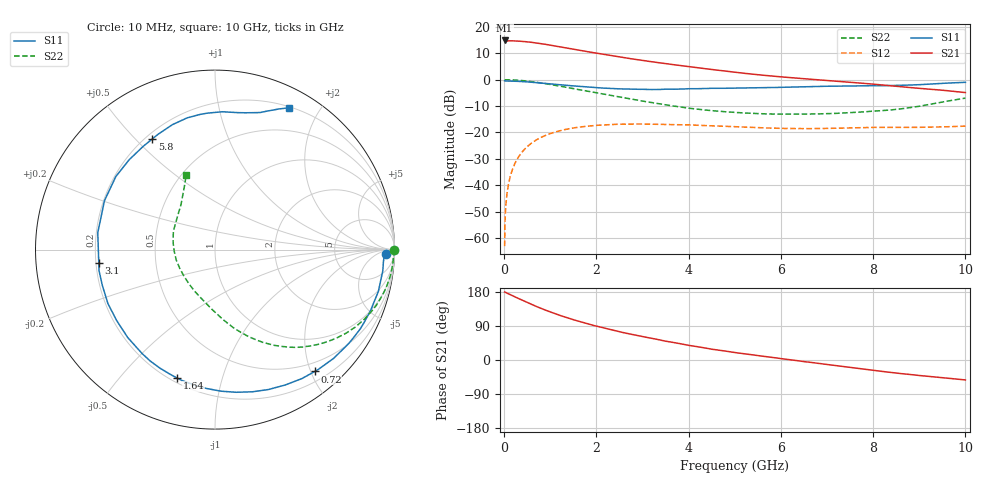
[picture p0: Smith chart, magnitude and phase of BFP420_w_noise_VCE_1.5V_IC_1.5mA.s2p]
! Infineon Technologies  Discrete & RF Semiconductors
! BFP420
! VCE =  1.5 V,  IC =  1.5 mA
! Common Emitter S-Parameters:  Jan 2016
# GHz  S  MA  R  50
!  f  S11  S21  S12  S22
! GHz  MAG  ANG  MAG  ANG  MAG  ANG  MAG  ANG
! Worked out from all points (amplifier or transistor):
!   233 points, 10 MHz to 10 GHz, reference 50 ohm
!   highest |S21| = 14.9 dB at 10 MHz (marker M1)
!   |S21| within 3 dB of that: start of sweep to 1.403 GHz
!   unconditionally stable (mu >= 1): 4.102 GHz to end of sweep
!   at 200 MHz: K = 0.02, MSG = 23.9 dB, |S12| = -33.1 dB
!   at 1.74 GHz: K = 0.34, MSG = 14.3 dB, |S12| = -17.7 dB
!   at 10 GHz: K = 1.26, MAG = 3.3 dB, |S12| = -17.6 dB
!   lowest NFmin = 0.52 dB at 900 MHz
!   S11 on the Smith chart (normalised r, x): 10 MHz: 32, -16; 720 MHz: 0.35, -2.06; 1.64 GHz: 0.22, -0.72; 3.1 GHz: 0.21, -0.06; 5.8 GHz: 0.23, +0.56; 10 GHz: 0.21, +1.63
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0.01  0.9515 -1.4  5.533 179.4  0.0007 95.8  0.9951 -0.1
0.02  0.9437 -1.5  5.38 179.2  0.0022 88.4  0.9956 -0.8
0.04  0.9415 -3.0  5.407 177.9  0.0045 87.9  0.9955 -1.7
0.08  0.9413 -5.8  5.438 175.5  0.0089 86.8  0.9945 -3.4
0.15  0.939 -10.6  5.448 171.5  0.0167 83.9  0.9913 -6.5
0.3  0.931 -21.4  5.381 162.9  0.0331 77.4  0.9755 -12.9
0.46  0.9142 -32.7  5.249 154.0  0.0498 70.6  0.9485 -19.5
0.72  0.8774 -50.7  4.932 140.2  0.0739 60.0  0.8876 -29.6
0.9  0.8497 -62.6  4.665 131.4  0.0882 53.3  0.8396 -35.8
1.12  0.8153 -76.5  4.328 121.6  0.1028 45.8  0.7784 -42.8
1.64  0.7453 -106.6  3.604 101.3  0.1265 30.6  0.6429 -56.6
1.68  0.7402 -108.8  3.555 99.9  0.128 29.6  0.6335 -57.6
1.96  0.711 -123.1  3.22 90.6  0.1354 22.9  0.5718 -63.6
2.4  0.6757 -144.2  2.784 77.4  0.1425 13.6  0.4864 -72.3
3.1  0.6519 -173.4  2.249 59.5  0.1439 1.8  0.3804 -85.0
3.4  0.6538 175.5  2.068 52.3  0.1426 -2.3  0.3441 -90.8
4  0.6734 156.1  1.773 38.7  0.1388 -9.0  0.2885 -103.7
5.1  0.6927 131.9  1.351 18.2  0.1275 -16.9  0.2368 -129.3
5.8  0.7085 119.6  1.172 7.0  0.1207 -18.9  0.2233 -146.5
6.8  0.7429 104.7  0.995 -8.7  0.1187 -19.5  0.2244 -172.2
8.4  0.7739 80.4  0.762 -33.1  0.1246 -23.8  0.2679 144.1
10  0.8907 62.5  0.569 -52.6  0.1317 -26.2  0.4468 111.0
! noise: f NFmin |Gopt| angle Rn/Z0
0.9  0.52  0.55  33  0.27
1.8  1.07  0.35  77  0.21
2.4  1.18  0.36  101  0.18
3  1.41  0.36  134  0.13
4  1.68  0.4  -172  0.1
5  2.08  0.44  -130  0.32
6  2.89  0.57  -114  0.39
